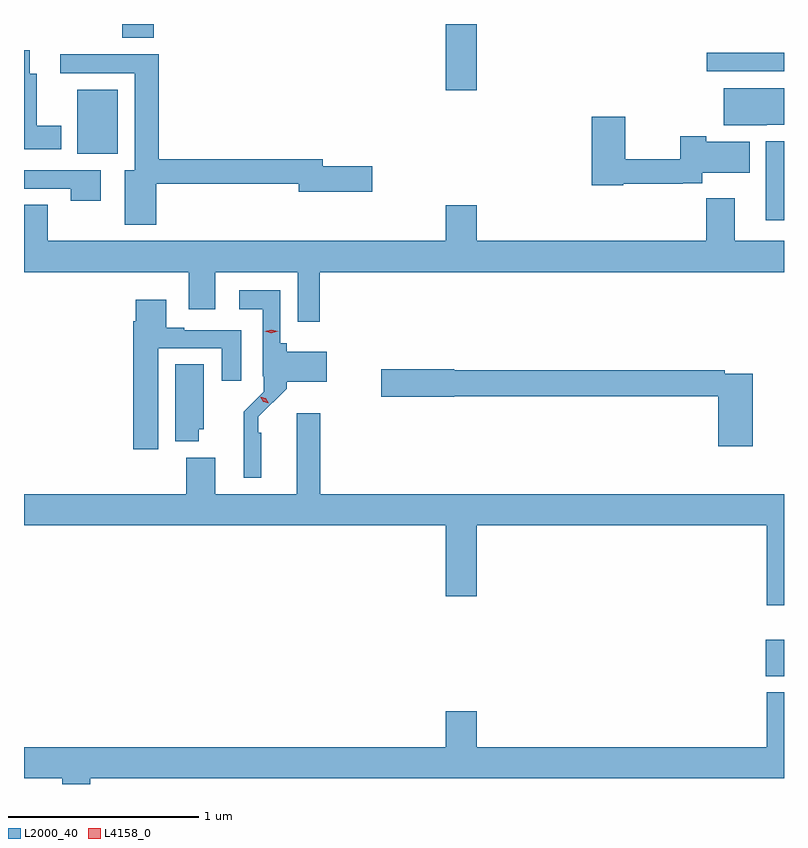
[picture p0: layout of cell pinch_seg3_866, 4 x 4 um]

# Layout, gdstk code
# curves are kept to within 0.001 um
import gdstk
lib = gdstk.Library(unit=1e-6, precision=1e-09)
def R(c, l, rs):  # rectangles x0, y0, x1, y1
    for r in rs: c.add(gdstk.rectangle(r[:2], r[2:], *l))
def P(c, l, *ps):  # polygons
    for p in ps: c.add(gdstk.Polygon(p, *l))
L2000_40 = (2000, 40)
L4158_0 = (4158, 0)

pinch_seg3_866 = lib.new_cell('pinch_seg3_866')
R(pinch_seg3_866, L2000_40, [(682.178,705.449,682.273,705.64), (682.178,707.85,682.273,708.265), (678.554,708.2,678.766,708.535), (680.492,708.534,680.656,708.882), (681.867,708.633,682.273,708.73), (678.791,708.809,678.956,708.882)])
P(pinch_seg3_866, L2000_40, [(678.469,708.346),(678.34,708.346),(678.34,708.619),(678.304,708.619),(678.304,708.745),(678.273,708.745),(678.273,708.224),(678.469,708.224)],
  [(678.97,708.042),(679.718,708.042),(679.718,707.999),(680.107,707.999),(680.107,708.134),(679.846,708.134),(679.846,708.17),(678.983,708.17),(678.983,708.722),(678.465,708.722),(678.465,708.624),(678.857,708.624),(678.857,708.112),(678.803,708.112),(678.803,707.826),(678.97,707.826)],
  [(682.182,708.351),(682.273,708.351),(682.273,708.544),(681.956,708.544),(681.956,708.35),(682.182,708.35)],
  [(681.426,708.042),(681.74,708.042),(681.74,708.043),(681.843,708.043),(681.843,708.098),(682.093,708.098),(682.093,708.262),(681.864,708.262),(681.864,708.292),(681.727,708.292),(681.727,708.17),(681.438,708.17),(681.438,708.394),(681.26,708.394),(681.26,708.034),(681.426,708.034)],
  [(678.676,708.111),(678.273,708.111),(678.273,708.015),(678.52,708.015),(678.52,707.952),(678.676,707.952)],
  [(679.829,707.576),(682.273,707.576),(682.273,707.74),(682.015,707.74),(682.015,707.965),(681.864,707.965),(681.864,707.74),(680.656,707.74),(680.656,707.929),(680.492,707.929),(680.492,707.74),(678.399,707.74),(678.399,707.93),(678.273,707.93),(678.273,707.576),(679.139,707.576),(679.139,707.382),(679.279,707.382),(679.279,707.576),(679.713,707.576),(679.713,707.316),(679.829,707.316)],
  [(679.521,706.731),(679.507,706.731),(679.507,706.814),(679.655,706.962),(679.655,707),(679.867,707),(679.867,707.158),(679.655,707.158),(679.655,707.202),(679.622,707.202),(679.622,707.482),(679.407,707.482),(679.407,707.381),(679.529,707.381),(679.53,707.027),(679.535,707.027),(679.535,706.946),(679.429,706.84),(679.43,706.493),(679.521,706.493)],
  [(678.979,707.175),(679.313,707.175),(679.313,707.004),(679.417,707.004),(679.417,707.271),(679.117,707.271),(679.117,707.284),(679.021,707.284),(679.021,707.431),(678.86,707.431),(678.86,707.318),(678.848,707.318),(678.848,706.644),(678.979,706.644)],
  [(679.192,706.749),(679.219,706.749),(679.219,707.09),(679.07,707.09),(679.07,706.685),(679.192,706.685)],
  [(682.109,707.04),(681.962,707.04),(681.962,707.06),(680.538,707.06),(680.538,707.066),(680.154,707.066),(680.154,706.919),(680.538,706.919),(680.538,706.924),(681.926,706.924),(681.926,706.659),(682.109,706.659)],
  [(682.273,706.408),(679.832,706.408),(679.832,706.834),(679.709,706.834),(679.709,706.408),(679.279,706.408),(679.279,706.6),(679.127,706.6),(679.127,706.408),(678.273,706.408),(678.273,706.244),(680.492,706.244),(680.492,705.87),(680.656,705.87),(680.656,706.244),(682.181,706.244),(682.181,705.822),(682.273,705.822)],
  [(678.621,704.912),(682.273,704.912),(682.273,705.364),(682.181,705.364),(682.181,705.076),(680.656,705.076),(680.656,705.265),(680.492,705.265),(680.492,705.076),(678.273,705.076),(678.273,704.912),(678.473,704.912),(678.473,704.882),(678.621,704.882)])
P(pinch_seg3_866, L4158_0, [(679.575,707.254),(679.54,707.264),(679.539,707.264),(679.54,707.264),(679.575,707.274),(679.611,707.265),(679.611,707.265),(679.611,707.264)],
  [(679.56,706.886),(679.532,706.895),(679.517,706.919),(679.517,706.92),(679.517,706.92),(679.545,706.911),(679.56,706.886),(679.56,706.886)])

lib.write_gds('pinch_seg3_866.gds')
